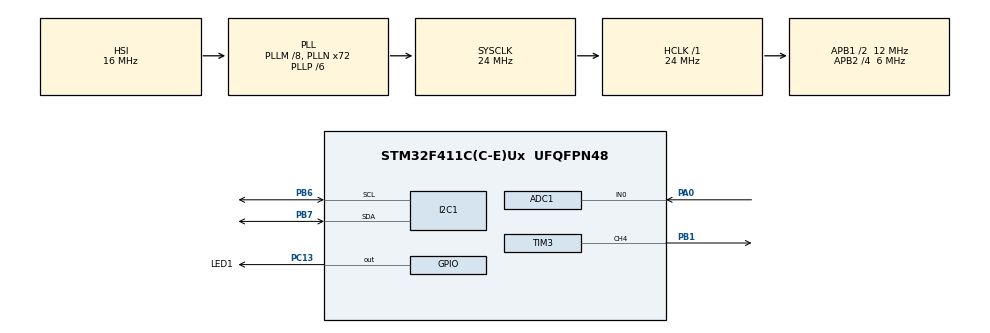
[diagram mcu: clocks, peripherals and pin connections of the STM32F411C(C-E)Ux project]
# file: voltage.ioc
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ADC1.Channel-1\#ChannelRegularConversion=ADC_CHANNEL_0
ADC1.NbrOfConversionFlag=1
ADC1.Rank-1\#ChannelRegularConversion=1
ADC1.SamplingTime-1\#ChannelRegularConversion=ADC_SAMPLETIME_3CYCLES
ADC1.master=1
Mcu.Family=STM32F4
Mcu.Name=STM32F411C(C-E)Ux
Mcu.Package=UFQFPN48
NVIC.I2C1_EV_IRQn=true\:0\:0\:false\:false\:true\:true\:true\:true
NVIC.PriorityGroup=NVIC_PRIORITYGROUP_4
PA0-WKUP.Signal=ADCx_IN0
PB1.Signal=S_TIM3_CH4
PB6.Mode=I2C
PB6.Signal=I2C1_SCL
PB7.Mode=I2C
PB7.Signal=I2C1_SDA
PC13-ANTI_TAMP.GPIO_Label=LED1
PC13-ANTI_TAMP.Signal=GPIO_Output
PH0\ -\ OSC_IN.Mode=HSE-External-Oscillator
PH0\ -\ OSC_IN.Signal=RCC_OSC_IN
PH1\ -\ OSC_OUT.Mode=HSE-External-Oscillator
PH1\ -\ OSC_OUT.Signal=RCC_OSC_OUT
ProjectManager.HeapSize=0x200
ProjectManager.StackSize=0x400
ProjectManager.TargetToolchain=STM32CubeIDE
RCC.48MHZClocksFreq_Value=36000000
RCC.AHBFreq_Value=24000000
RCC.APB1CLKDivider=RCC_HCLK_DIV2
RCC.APB1Freq_Value=12000000
RCC.APB1TimFreq_Value=24000000
RCC.APB2CLKDivider=RCC_HCLK_DIV4
RCC.APB2Freq_Value=6000000
RCC.APB2TimFreq_Value=12000000
RCC.CortexFreq_Value=24000000
RCC.HCLKFreq_Value=24000000
RCC.HSE_VALUE=25000000
RCC.HSI_VALUE=16000000
RCC.LSE_VALUE=32768
RCC.PLLM=8
RCC.PLLN=72
RCC.PLLP=RCC_PLLP_DIV6
RCC.SYSCLKFreq_VALUE=24000000
RCC.SYSCLKSource=RCC_SYSCLKSOURCE_PLLCLK
RCC.VCOOutputFreq_Value=144000000
SH.ADCx_IN0.0=ADC1_IN0,IN0
SH.S_TIM3_CH4.0=TIM3_CH4,PWM Generation4 CH4
TIM3.Channel-PWM\ Generation4\ CH4=TIM_CHANNEL_4
TIM3.Period=500
TIM3.Prescaler=191
board=custom

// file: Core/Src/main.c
/* USER CODE BEGIN Header */
/**
  ******************************************************************************
  * @file           : main.c
  * @brief          : Main program body
  ******************************************************************************
  * @attention
  *
  * Copyright (c) 2023 STMicroelectronics.
  * All rights reserved.
  *
  * This software is licensed under terms that can be found in the LICENSE file
  * in the root directory of this software component.
  * If no LICENSE file comes with this software, it is provided AS-IS.
  *
  ******************************************************************************
  */
/* USER CODE END Header */
#include "main.h"

/* USER CODE BEGIN Includes */
#include "ssd1306.h"
#include <stdio.h>
/* USER CODE END Includes */

ADC_HandleTypeDef hadc1;

I2C_HandleTypeDef hi2c1;

TIM_HandleTypeDef htim3;

/* USER CODE BEGIN PV */
uint16_t adc;
char voltageBuff[100];
/* USER CODE END PV */

void SystemClock_Config(void);
static void MX_GPIO_Init(void);
static void MX_ADC1_Init(void);
static void MX_I2C1_Init(void);
static void MX_TIM3_Init(void);
/* USER CODE BEGIN PFP */
static void printNum(float);
static void mesureV(void);
static float convertV(uint16_t);
/* USER CODE END PFP */

int main(void)
{

  /* MCU Configuration--------------------------------------------------------*/

  /* Reset of all peripherals, Initializes the Flash interface and the Systick. */
  HAL_Init();

  /* Configure the system clock */
  SystemClock_Config();

  /* Initialize all configured peripherals */
  MX_GPIO_Init();
  MX_ADC1_Init();
  MX_I2C1_Init();
  MX_TIM3_Init();
  /* USER CODE BEGIN 2 */
  ssd1306_Init();
  HAL_TIM_PWM_Start(&htim3, TIM_CHANNEL_4);
  HAL_ADC_Init(&hadc1);
  /* USER CODE END 2 */

  /* Infinite loop */
  /* USER CODE BEGIN WHILE */
  while (1)
  {
	printNum(3);
	for(int i = 0; i < 100; i++) {
	   __HAL_TIM_SetCompare(&htim3, TIM_CHANNEL_4, i);
	   mesureV();
	   printNum(convertV(adc));
	   HAL_GPIO_TogglePin(LED1_GPIO_Port, LED1_Pin);
	   HAL_Delay(100);
	}
	for(int i = 100; i > 0; i--) {
	   __HAL_TIM_SetCompare(&htim3, TIM_CHANNEL_4, i);
	   mesureV();
	   printNum(convertV(adc));
	   HAL_GPIO_TogglePin(LED1_GPIO_Port, LED1_Pin);
	   HAL_Delay(100);
	}
    /* USER CODE END WHILE */

  }
}

void SystemClock_Config(void)
{
  RCC_OscInitTypeDef RCC_OscInitStruct = {0};
  RCC_ClkInitTypeDef RCC_ClkInitStruct = {0};

  /** Configure the main internal regulator output voltage
  */
  __HAL_RCC_PWR_CLK_ENABLE();
  __HAL_PWR_VOLTAGESCALING_CONFIG(PWR_REGULATOR_VOLTAGE_SCALE1);

  /** Initializes the RCC Oscillators according to the specified parameters
  * in the RCC_OscInitTypeDef structure.
  */
  RCC_OscInitStruct.OscillatorType = RCC_OSCILLATORTYPE_HSI;
  RCC_OscInitStruct.HSIState = RCC_HSI_ON;
  RCC_OscInitStruct.HSICalibrationValue = RCC_HSICALIBRATION_DEFAULT;
  RCC_OscInitStruct.PLL.PLLState = RCC_PLL_ON;
  RCC_OscInitStruct.PLL.PLLSource = RCC_PLLSOURCE_HSI;
  RCC_OscInitStruct.PLL.PLLM = 8;
  RCC_OscInitStruct.PLL.PLLN = 72;
  RCC_OscInitStruct.PLL.PLLP = RCC_PLLP_DIV6;
  RCC_OscInitStruct.PLL.PLLQ = 4;
  if (HAL_RCC_OscConfig(&RCC_OscInitStruct) != HAL_OK)
  {
    Error_Handler();
  }

  /** Initializes the CPU, AHB and APB buses clocks
  */
  RCC_ClkInitStruct.ClockType = RCC_CLOCKTYPE_HCLK|RCC_CLOCKTYPE_SYSCLK
                              |RCC_CLOCKTYPE_PCLK1|RCC_CLOCKTYPE_PCLK2;
  RCC_ClkInitStruct.SYSCLKSource = RCC_SYSCLKSOURCE_PLLCLK;
  RCC_ClkInitStruct.AHBCLKDivider = RCC_SYSCLK_DIV1;
  RCC_ClkInitStruct.APB1CLKDivider = RCC_HCLK_DIV2;
  RCC_ClkInitStruct.APB2CLKDivider = RCC_HCLK_DIV4;

  if (HAL_RCC_ClockConfig(&RCC_ClkInitStruct, FLASH_LATENCY_0) != HAL_OK)
  {
    Error_Handler();
  }
}

static void MX_ADC1_Init(void)
{

  ADC_ChannelConfTypeDef sConfig = {0};

  /** Configure the global features of the ADC (Clock, Resolution, Data Alignment and number of conversion)
  */
  hadc1.Instance = ADC1;
  hadc1.Init.ClockPrescaler = ADC_CLOCK_SYNC_PCLK_DIV2;
  hadc1.Init.Resolution = ADC_RESOLUTION_12B;
  hadc1.Init.ScanConvMode = DISABLE;
  hadc1.Init.ContinuousConvMode = DISABLE;
  hadc1.Init.DiscontinuousConvMode = DISABLE;
  hadc1.Init.ExternalTrigConvEdge = ADC_EXTERNALTRIGCONVEDGE_NONE;
  hadc1.Init.ExternalTrigConv = ADC_SOFTWARE_START;
  hadc1.Init.DataAlign = ADC_DATAALIGN_RIGHT;
  hadc1.Init.NbrOfConversion = 1;
  hadc1.Init.DMAContinuousRequests = DISABLE;
  hadc1.Init.EOCSelection = ADC_EOC_SINGLE_CONV;
  if (HAL_ADC_Init(&hadc1) != HAL_OK)
  {
    Error_Handler();
  }

  /** Configure for the selected ADC regular channel its corresponding rank in the sequencer and its sample time.
  */
  sConfig.Channel = ADC_CHANNEL_0;
  sConfig.Rank = 1;
  sConfig.SamplingTime = ADC_SAMPLETIME_3CYCLES;
  if (HAL_ADC_ConfigChannel(&hadc1, &sConfig) != HAL_OK)
  {
    Error_Handler();
  }

}

static void MX_I2C1_Init(void)
{

  hi2c1.Instance = I2C1;
  hi2c1.Init.ClockSpeed = 100000;
  hi2c1.Init.DutyCycle = I2C_DUTYCYCLE_2;
  hi2c1.Init.OwnAddress1 = 0;
  hi2c1.Init.AddressingMode = I2C_ADDRESSINGMODE_7BIT;
  hi2c1.Init.DualAddressMode = I2C_DUALADDRESS_DISABLE;
  hi2c1.Init.OwnAddress2 = 0;
  hi2c1.Init.GeneralCallMode = I2C_GENERALCALL_DISABLE;
  hi2c1.Init.NoStretchMode = I2C_NOSTRETCH_DISABLE;
  if (HAL_I2C_Init(&hi2c1) != HAL_OK)
  {
    Error_Handler();
  }

}

static void MX_TIM3_Init(void)
{

  TIM_MasterConfigTypeDef sMasterConfig = {0};
  TIM_OC_InitTypeDef sConfigOC = {0};

  htim3.Instance = TIM3;
  htim3.Init.Prescaler = 191;
  htim3.Init.CounterMode = TIM_COUNTERMODE_UP;
  htim3.Init.Period = 500;
  htim3.Init.ClockDivision = TIM_CLOCKDIVISION_DIV1;
  htim3.Init.AutoReloadPreload = TIM_AUTORELOAD_PRELOAD_DISABLE;
  if (HAL_TIM_PWM_Init(&htim3) != HAL_OK)
  {
    Error_Handler();
  }
  sMasterConfig.MasterOutputTrigger = TIM_TRGO_RESET;
  sMasterConfig.MasterSlaveMode = TIM_MASTERSLAVEMODE_DISABLE;
  if (HAL_TIMEx_MasterConfigSynchronization(&htim3, &sMasterConfig) != HAL_OK)
  {
    Error_Handler();
  }
  sConfigOC.OCMode = TIM_OCMODE_PWM1;
  sConfigOC.Pulse = 0;
  sConfigOC.OCPolarity = TIM_OCPOLARITY_HIGH;
  sConfigOC.OCFastMode = TIM_OCFAST_DISABLE;
  if (HAL_TIM_PWM_ConfigChannel(&htim3, &sConfigOC, TIM_CHANNEL_4) != HAL_OK)
  {
    Error_Handler();
  }
  HAL_TIM_MspPostInit(&htim3);

}

static void MX_GPIO_Init(void)
{
  GPIO_InitTypeDef GPIO_InitStruct = {0};

  /* GPIO Ports Clock Enable */
  __HAL_RCC_GPIOC_CLK_ENABLE();
  __HAL_RCC_GPIOH_CLK_ENABLE();
  __HAL_RCC_GPIOA_CLK_ENABLE();
  __HAL_RCC_GPIOB_CLK_ENABLE();

  /*Configure GPIO pin Output Level */
  HAL_GPIO_WritePin(LED1_GPIO_Port, LED1_Pin, GPIO_PIN_RESET);

  /*Configure GPIO pin : LED1_Pin */
  GPIO_InitStruct.Pin = LED1_Pin;
  GPIO_InitStruct.Mode = GPIO_MODE_OUTPUT_PP;
  GPIO_InitStruct.Pull = GPIO_NOPULL;
  GPIO_InitStruct.Speed = GPIO_SPEED_FREQ_LOW;
  HAL_GPIO_Init(LED1_GPIO_Port, &GPIO_InitStruct);

}

/* USER CODE BEGIN 4 */
static void printNum(float x){
	snprintf(voltageBuff, sizeof(voltageBuff), "Voltage: %.6f", x);
//	snprintf(voltageBuff, sizeof(voltageBuff), "Voltage: %i", x);
	ssd1306_SetCursor(0, 0);
	ssd1306_WriteString(voltageBuff, Font_7x10, White);
	ssd1306_UpdateScreen();
}

static void mesureV(void){
	HAL_ADC_Start(&hadc1); // Запуск преобразования
	HAL_ADC_PollForConversion(&hadc1, HAL_MAX_DELAY); // Ожидаем окончания преобразования
	adc = HAL_ADC_GetValue(&hadc1); // Сохраняем значение АЦП в переменную adc
}

static float convertV(uint16_t x){
	return 3.3/4096*x;
}

/* USER CODE END 4 */

void Error_Handler(void)
{
  __disable_irq();
  while (1)
  {
  }
}
